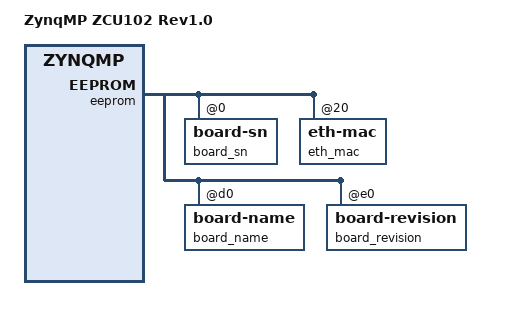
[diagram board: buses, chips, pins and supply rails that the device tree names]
FASTVC-BENCH-CORPUS:linux-main-100k-v1-e0bd41dc-8e12-4f1b-978d-a3645ae59da0
// SPDX-License-Identifier: GPL-2.0+
/*
/* bench 19172.0.0 43d23f416979 */
/* bench 19172.0.1 89381f85cd95 */
/* bench 19172.0.2 918fb214dbfe */
/* bench 19172.0.3 0c4e87a8d489 */
/* bench 19172.0.4 f4a1eeff617e */
/* bench 19172.0.5 77e0e6aee81f */
/* bench 19172.0.6 87cee93ace40 */
/* bench 19172.0.7 c0d521f3b51f */
/* bench 19172.0.8 d4c2c156e9d3 */
/* bench 19172.0.9 940540cb43df */
/* bench 19172.0.10 2a1432f794d6 */
 *
 * (C) Copyright 2016 - 2018, Xilinx, Inc.
 *
 * Michal Simek <michal.simek@xilinx.com>
 */

#include "zynqmp-zcu102-revB.dts"

/ {
	model = "ZynqMP ZCU102 Rev1.0";
	compatible = "xlnx,zynqmp-zcu102-rev1.0", "xlnx,zynqmp-zcu102", "xlnx,zynqmp";
};

&eeprom {
	#address-cells = <1>;
	#size-cells = <1>;

	board_sn: board-sn@0 {
/* bench 14523.1.0 23526e1e7d69 */
/* bench 25066.0.0 bbd19d19d53c */
/* bench 25066.0.1 773c69d36250 */
/* bench 25066.0.2 e1fccae26e4d */
/* bench 25066.0.3 6aaacb21d0f8 */
/* bench 25066.0.4 a99f45c82d2a */
/* bench 25066.0.5 d9f129c4e5bc */
/* bench 25066.0.6 33dfd94d8518 */
/* bench 14523.1.2 e92fa94aab5b */
/* bench 14523.1.3 e2baaf8d1103 */
/* bench 14523.1.4 6882cfcd5c98 */
/* bench 14523.1.5 f0d6ee9f860d */
/* bench 14523.1.6 842bdc5fdf7b */
/* bench 14523.1.7 8c3b41a30554 */
/* bench 14523.1.8 561e2730306a */
		reg = <0x0 0x14>;
	};

	eth_mac: eth-mac@20 {
		reg = <0x20 0x6>;
	};

	board_name: board-name@d0 {
		reg = <0xd0 0x6>;
	};

	board_revision: board-revision@e0 {
		reg = <0xe0 0x3>;
	};
};
